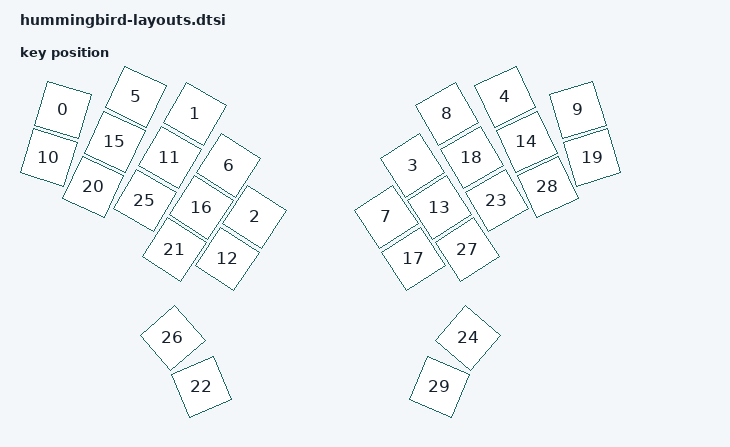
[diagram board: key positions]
#include <physical_layouts.dtsi>

/ {
    physical_layout0: physical_layout_0 {
        compatible = "zmk,physical-layout";
        display-name = "LAYOUT";

        kscan = <&kscan0>;
        transform = <&matrix_transform0>;

        keys  //                     w   h    x    y     rot    rx    ry
            = <&key_physical_attrs 100 100   29   27    1700    79    77>
            , <&key_physical_attrs 100 100  292   35    3000   342    85>
            , <&key_physical_attrs 100 100  412  241    3300   462   291>
            , <&key_physical_attrs 100 100  728  138 (-3300)   778   188>
            , <&key_physical_attrs 100 100  913    0 (-2500)   963    50>
            , <&key_physical_attrs 100 100  174    0    2500   224    50>
            , <&key_physical_attrs 100 100  360  138    3300   410   188>
            , <&key_physical_attrs 100 100  675  241 (-3300)   725   291>
            , <&key_physical_attrs 100 100  796   35 (-3000)   846    85>
            , <&key_physical_attrs 100 100 1058   27 (-1700)  1108    77>
            , <&key_physical_attrs 100 100    0  122    1700    50   172>
            , <&key_physical_attrs 100 100  242  122    3000   292   172>
            , <&key_physical_attrs 100 100  357  325    3300   407   375>
            , <&key_physical_attrs 100 100  782  222 (-3300)   832   272>
            , <&key_physical_attrs 100 100  956   91 (-2500)  1006   141>
            , <&key_physical_attrs 100 100  132   91    2500   182   141>
            , <&key_physical_attrs 100 100  305  222    3300   355   272>
            , <&key_physical_attrs 100 100  730  325 (-3300)   780   375>
            , <&key_physical_attrs 100 100  846  122 (-3000)   896   172>
            , <&key_physical_attrs 100 100 1087  122 (-1700)  1137   172>
            , <&key_physical_attrs 100 100   89  181    2500   139   231>
            , <&key_physical_attrs 100 100  251  306    3300   301   356>
            , <&key_physical_attrs 100 100  305  581 (-2300)   355   631>
            , <&key_physical_attrs 100 100  896  208 (-3000)   946   258>
            , <&key_physical_attrs 100 100  839  483    4100   889   533>
            , <&key_physical_attrs 100 100  192  208    3000   242   258>
            , <&key_physical_attrs 100 100  248  483 (-4100)   298   533>
            , <&key_physical_attrs 100 100  837  306 (-3300)   887   356>
            , <&key_physical_attrs 100 100  998  181 (-2500)  1048   231>
            , <&key_physical_attrs 100 100  782  581    2300   832   631>
            ;
    };
};
